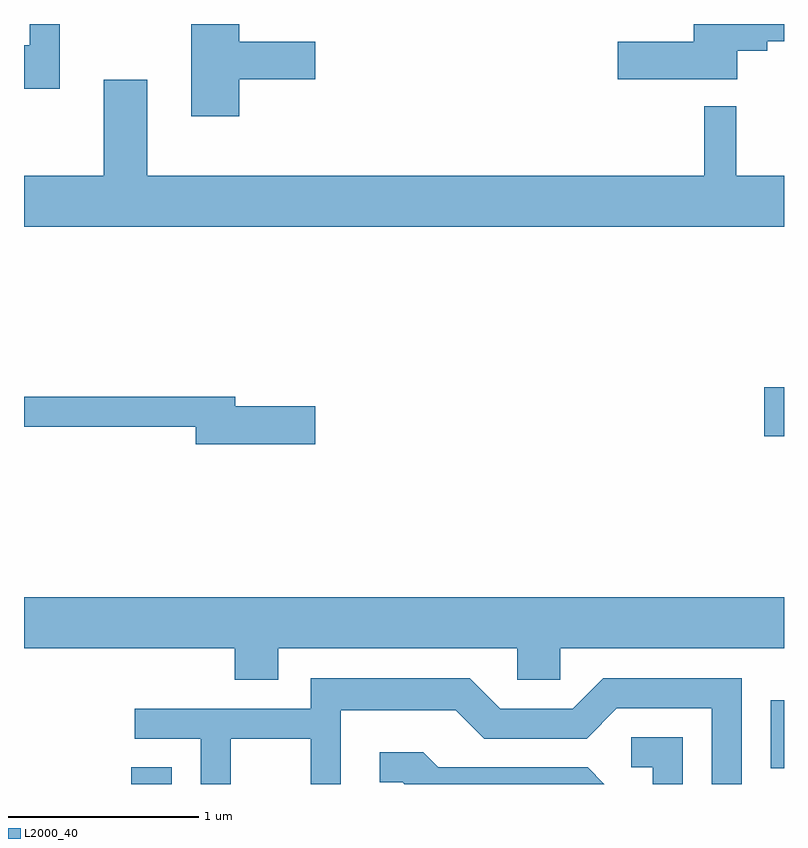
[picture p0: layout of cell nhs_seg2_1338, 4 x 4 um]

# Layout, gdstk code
import gdstk
lib = gdstk.Library(unit=1e-6, precision=1e-09)
def R(c, l, rs):  # rectangles x0, y0, x1, y1
    for r in rs: c.add(gdstk.rectangle(r[:2], r[2:], *l))
def P(c, l, *ps):  # polygons
    for p in ps: c.add(gdstk.Polygon(p, *l))
L2000_40 = (2000, 40)

nhs_seg2_1338 = lib.new_cell('nhs_seg2_1338')
R(nhs_seg2_1338, L2000_40, [(224.176,1069.802,224.389,1069.889), (227.541,1069.886,227.611,1070.243), (227.506,1071.631,227.611,1071.889)])
P(nhs_seg2_1338, L2000_40, [(224.744,1073.511),(225.144,1073.511),(225.144,1073.709),(224.744,1073.709),(224.744,1073.802),(224.491,1073.802),(224.491,1073.316),(224.744,1073.316)],
  [(223.799,1073.802),(223.641,1073.802),(223.641,1073.689),(223.611,1073.689),(223.611,1073.461),(223.799,1073.461)],
  [(227.364,1073.661),(227.524,1073.661),(227.524,1073.711),(227.611,1073.711),(227.611,1073.802),(227.136,1073.802),(227.136,1073.709),(226.736,1073.709),(226.736,1073.511),(227.364,1073.511)],
  [(227.611,1073.004),(227.359,1073.004),(227.359,1073.368),(227.191,1073.368),(227.191,1073.004),(224.259,1073.004),(224.259,1073.509),(224.031,1073.509),(224.031,1073.004),(223.611,1073.004),(223.611,1072.736),(227.611,1072.736)],
  [(225.144,1071.789),(224.724,1071.789),(224.724,1071.839),(223.611,1071.839),(223.611,1071.681),(224.516,1071.681),(224.516,1071.591),(225.144,1071.591)],
  [(224.949,1070.516),(226.206,1070.516),(226.206,1070.351),(226.434,1070.351),(226.434,1070.516),(227.611,1070.516),(227.611,1070.784),(223.611,1070.784),(223.611,1070.516),(224.721,1070.516),(224.721,1070.351),(224.949,1070.351)],
  [(224.699,1070.041),(225.121,1070.041),(225.121,1069.802),(225.279,1069.802),(225.279,1070.191),(225.884,1070.191),(226.034,1070.041),(226.572,1070.041),(226.732,1070.201),(227.231,1070.201),(227.231,1069.802),(227.389,1069.802),(227.389,1070.359),(226.659,1070.359),(226.499,1070.199),(226.117,1070.199),(225.957,1070.359),(225.121,1070.359),(225.121,1070.199),(224.193,1070.199),(224.193,1070.041),(224.541,1070.041),(224.541,1069.802),(224.699,1069.802)],
  [(227.079,1070.049),(226.808,1070.049),(226.808,1069.891),(226.921,1069.891),(226.921,1069.802),(227.079,1069.802)],
  [(226.577,1069.889),(225.792,1069.889),(225.712,1069.969),(225.483,1069.969),(225.483,1069.811),(225.604,1069.811),(225.613,1069.802),(226.664,1069.802)])

lib.write_gds('nhs_seg2_1338.gds')
